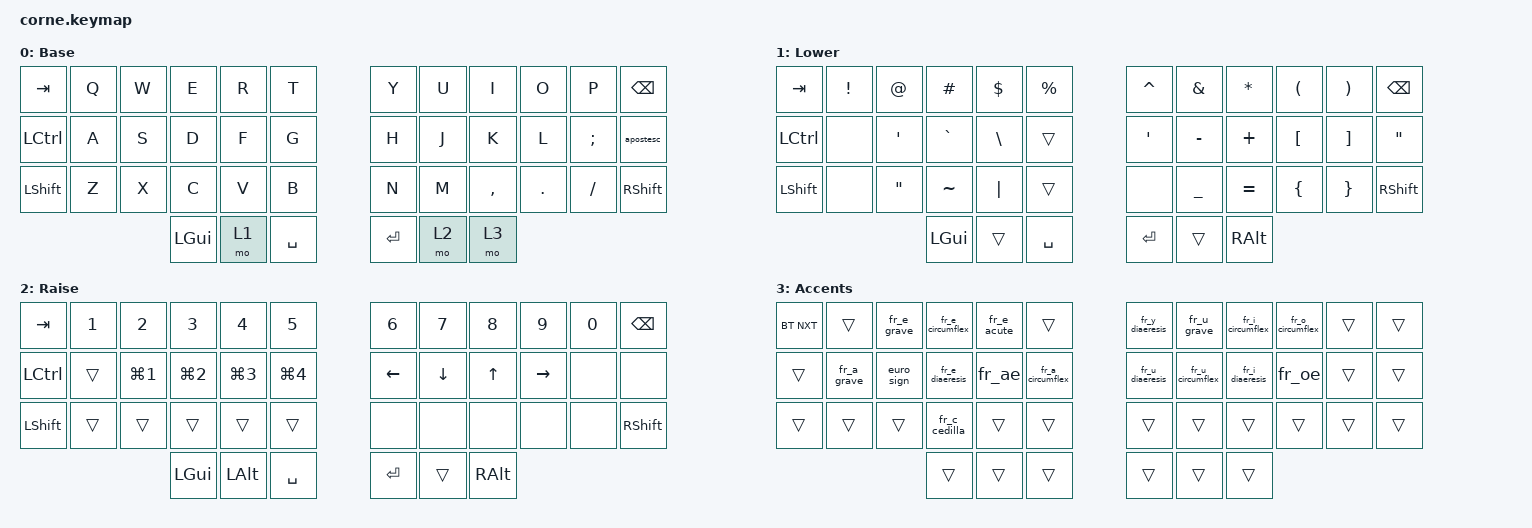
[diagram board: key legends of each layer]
/*
 * Copyright (c) 2020 The ZMK Contributors
 *
 * SPDX-License-Identifier: MIT
 */

#include <behaviors.dtsi>
#include <dt-bindings/zmk/keys.h>
#include <dt-bindings/zmk/bt.h>

// Accents

#define HOST_OS 1 // Linux
// #define HOST_OS 2 // Mac OS

#include "../accents/helper.h"
#include "../accents/keypos_def/keypos_42keys.h"
#include "../accents/international_chars/french.dtsi"

ZMK_UNICODE_SINGLE(euro_sign, N2, N0, A, C)  // €
/ {
  // https://zmk.dev/docs/behaviors
    behaviors {

      apostesc: grave_escape {
        compatible = "zmk,behavior-mod-morph";
        #binding-cells = <0>;
        bindings = <&kp APOSTROPHE>, <&kp ESC>;
        mods = <(MOD_LCTL)>;
      };

      mo_and_kp: require_prior_idle {
          compatible = "zmk,behavior-hold-tap";
          #binding-cells = <2>;
          flavor = "tap-preferred";
          tapping-term-ms = <125>;
          // quick-tap-ms = <200>;
          require-prior-idle-ms = <125>;
          bindings = <&mo>, <&kp>;
      };

    };

    keymap {
        compatible = "zmk,keymap";
        default_layer {
            label = "Base";
            bindings = <
&kp TAB           &kp Q            &kp W              &kp E              &kp R             &kp T             &kp Y            &kp U               &kp I             &kp O                 &kp P                  &kp BSPC
&kp LCTRL         &kp A            &kp S              &kp D              &kp F             &kp G             &kp H            &kp J               &kp K             &kp L                 &kp SEMI               &apostesc
&kp LSHFT         &kp Z            &kp X              &kp C              &kp V             &kp B             &kp N            &kp M               &kp COMMA         &kp DOT               &kp FSLH               &kp RIGHT_SHIFT
                                                      &kp LGUI           &mo 1             &kp SPACE         &kp ENTER        &mo 2               &mo 3
            >;
        };

        Symbols {
            label = "Lower";
            bindings = <
&kp TAB           &kp EXCLAMATION  &kp AT_SIGN        &kp HASH           &kp DOLLAR        &kp PERCENT       &kp CARET        &kp AMPERSAND       &kp ASTERISK      &kp LEFT_PARENTHESIS  &kp RIGHT_PARENTHESIS  &kp BSPC
&kp LEFT_CONTROL  &none            &kp APOS           &kp GRAVE          &kp BACKSLASH     &trans            &kp APOS         &kp MINUS           &kp PLUS          &kp LEFT_BRACKET      &kp RIGHT_BRACKET      &kp DOUBLE_QUOTES
&kp LSHFT         &none            &kp DOUBLE_QUOTES  &kp TILDE          &kp PIPE          &trans            &none            &kp UNDER           &kp EQUAL         &kp LEFT_BRACE        &kp RIGHT_BRACE        &kp RIGHT_SHIFT
                                                      &kp LGUI           &trans            &kp SPACE         &kp RET          &trans              &kp RALT
            >;
        };

        Numbers-and-Arrows {
            label = "Raise";
            bindings = <
&kp TAB           &kp N1           &kp N2             &kp N3             &kp N4            &kp N5            &kp N6           &kp N7              &kp N8             &kp N9               &kp N0                 &kp BSPC
&kp LEFT_CONTROL  &trans           &kp LG(NUMBER_1)   &kp LG(NUMBER_2)   &kp LG(NUMBER_3)  &kp LG(NUMBER_4)  &kp LEFT         &kp DOWN            &kp UP             &kp RIGHT            &none                  &none
&kp LSHFT         &trans           &trans             &trans             &trans            &trans            &none            &none               &none              &none                &none                  &kp RIGHT_SHIFT
                                                      &kp LGUI           &kp LEFT_ALT      &kp SPACE         &kp RET          &trans              &kp RALT
            >;
        };

        Accents {
            label = "Accents";
            bindings = <
&bt BT_NXT        &trans           &fr_e_grave        &fr_e_circumflex   &fr_e_acute       &trans            &fr_y_diaeresis  &fr_u_grave         &fr_i_circumflex   &fr_o_circumflex     &trans                 &trans
&trans            &fr_a_grave      &euro_sign         &fr_e_diaeresis    &fr_ae            &fr_a_circumflex  &fr_u_diaeresis  &fr_u_circumflex    &fr_i_diaeresis    &fr_oe               &trans                 &trans
&trans            &trans           &trans             &fr_c_cedilla      &trans            &trans            &trans           &trans              &trans             &trans               &trans                 &trans
                                                      &trans             &trans            &trans            &trans           &trans              &trans
            >;
        };
    };
};
